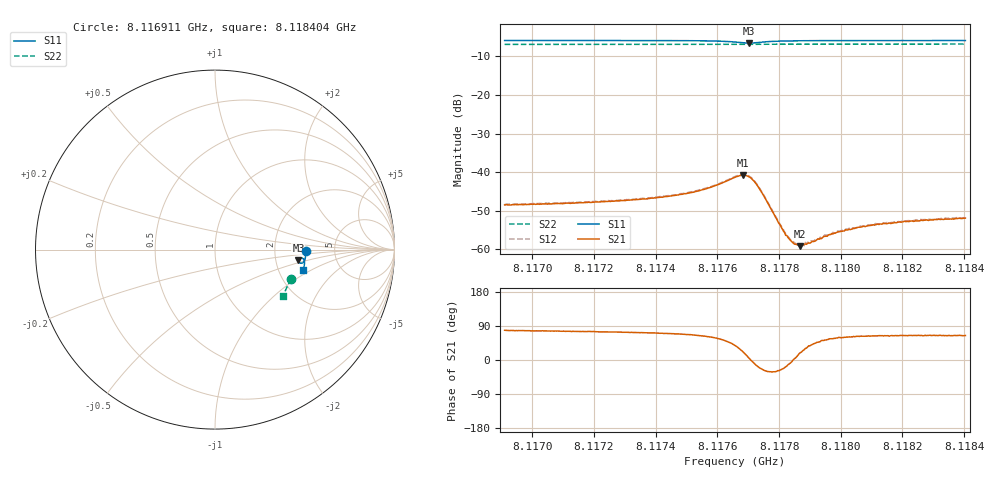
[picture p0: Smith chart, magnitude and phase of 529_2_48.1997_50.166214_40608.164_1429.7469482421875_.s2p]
#  HZ  S  RI  R  50.00
! Rohde & Schwarz Vector Network Analyzer
! Rohde-Schwarz,ZNB20-2Port,1311601062101988,3.16
! Created: UTC 3/20/2024, 11:59:48 AM
! freq[Hz]  re:S11  im:S11  re:S21  im:S21  re:S12  im:S12  re:S22  im:S22
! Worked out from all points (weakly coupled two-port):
!   401 points, 8.116911 GHz to 8.118404 GHz, reference 50 ohm
!   highest |S21| = -40.78 dB at 8.117683 GHz (marker M1); lowest = -59.2 dB at 8.117866 GHz (marker M2)
!   lowest |S11| = -6.6 dB at 8.117702 GHz (marker M3), VSWR 2.77, Z = 135 - j20.8 ohm
!   |S11| at or under -10 dB: nowhere
!   |S22| runs from -6.9 to -6.8 dB; largest |S21 - S12| = 0.00026
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8.1169107e9  0.5066 -0.00883  0.00075 0.00369  0.000811 0.00374  0.4207 -0.1626
8.1171608e9  0.5054 -0.0287  0.00103 0.00388  0.00109 0.00393  0.4148 -0.179
8.1174109e9  0.5025 -0.0499  0.00156 0.00444  0.00161 0.00454  0.4082 -0.1952
8.1175416e9  0.4979 -0.0638  0.00248 0.00519  0.00256 0.00531  0.4042 -0.2036
8.1176013e9  0.4921 -0.0716  0.00378 0.00575  0.00387 0.00581  0.4022 -0.2077
8.1176573e9  0.4777 -0.076  0.00673 0.00534  0.00689 0.00544  0.4 -0.2109
8.1176834e9  0.4679 -0.0699  0.00851 0.00334  0.00875 0.00337  0.399 -0.2121
8.1177021e9  0.465 -0.0602  0.00871 0.000857  0.00892 0.000813  0.3983 -0.2128
8.117717e9  0.468 -0.0522  0.00773 -0.000962  0.00791 -0.00102  0.3982 -0.2133
8.1177357e9  0.4759 -0.0469  0.0058 -0.00213  0.00595 -0.0022  0.398 -0.2144
8.1178141e9  0.4955 -0.0563  0.0016 -0.000658  0.00167 -0.000693  0.3966 -0.2197
8.117829e9  0.4967 -0.0587  0.00139 -0.000309  0.00142 -0.000347  0.3959 -0.2207
8.1178477e9  0.4976 -0.0616  0.00119 4.36e-05  0.00124 1.75e-05  0.3953 -0.2219
8.1178663e9  0.4981 -0.0642  0.00105 0.000334  0.00112 0.000312  0.3948 -0.2232
8.1178813e9  0.4984 -0.0661  0.00104 0.00053  0.00099 0.000518  0.3944 -0.2241
8.1179074e9  0.4987 -0.0693  0.000955 0.000836  0.000999 0.000803  0.3936 -0.2257
8.1179671e9  0.4987 -0.0758  0.00087 0.00129  0.000914 0.0013  0.3917 -0.2297
8.1180119e9  0.4984 -0.0803  0.000868 0.0015  0.000942 0.00158  0.3901 -0.2324
8.1180791e9  0.4977 -0.0863  0.000902 0.00175  0.000935 0.00179  0.3879 -0.2365
8.1181575e9  0.4967 -0.0928  0.000999 0.00196  0.000954 0.002  0.3852 -0.2413
8.1182508e9  0.4954 -0.1004  0.000987 0.00212  0.00104 0.00213  0.3819 -0.2472
8.1184039e9  0.4927 -0.1122  0.00109 0.00229  0.00111 0.00233  0.3764 -0.2564
